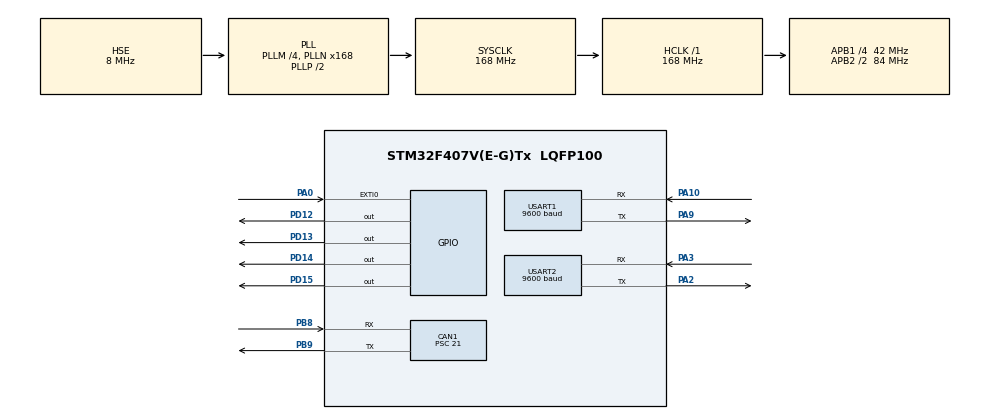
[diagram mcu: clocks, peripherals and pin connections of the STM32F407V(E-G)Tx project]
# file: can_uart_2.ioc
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CAN1.BS1=CAN_BS1_12TQ
CAN1.BS2=CAN_BS2_4TQ
CAN1.CalculateTimeQuantum=500.0
CAN1.Prescaler=21
Dma.Request0=USART1_RX
Dma.Request1=USART1_TX
Dma.Request2=USART2_TX
Dma.Request3=USART2_RX
Dma.USART1_RX.0.Direction=DMA_PERIPH_TO_MEMORY
Dma.USART1_RX.0.FIFOMode=DMA_FIFOMODE_DISABLE
Dma.USART1_RX.0.Instance=DMA2_Stream2
Dma.USART1_RX.0.MemDataAlignment=DMA_MDATAALIGN_BYTE
Dma.USART1_RX.0.MemInc=DMA_MINC_ENABLE
Dma.USART1_RX.0.Mode=DMA_CIRCULAR
Dma.USART1_RX.0.PeriphDataAlignment=DMA_PDATAALIGN_BYTE
Dma.USART1_RX.0.PeriphInc=DMA_PINC_DISABLE
Dma.USART1_RX.0.Priority=DMA_PRIORITY_LOW
Dma.USART1_TX.1.Direction=DMA_MEMORY_TO_PERIPH
Dma.USART1_TX.1.FIFOMode=DMA_FIFOMODE_DISABLE
Dma.USART1_TX.1.Instance=DMA2_Stream7
Dma.USART1_TX.1.MemDataAlignment=DMA_MDATAALIGN_BYTE
Dma.USART1_TX.1.MemInc=DMA_MINC_ENABLE
Dma.USART1_TX.1.Mode=DMA_CIRCULAR
Dma.USART1_TX.1.PeriphDataAlignment=DMA_PDATAALIGN_BYTE
Dma.USART1_TX.1.PeriphInc=DMA_PINC_DISABLE
Dma.USART1_TX.1.Priority=DMA_PRIORITY_LOW
Dma.USART2_RX.3.Direction=DMA_PERIPH_TO_MEMORY
Dma.USART2_RX.3.FIFOMode=DMA_FIFOMODE_DISABLE
Dma.USART2_RX.3.Instance=DMA1_Stream5
Dma.USART2_RX.3.MemDataAlignment=DMA_MDATAALIGN_BYTE
Dma.USART2_RX.3.MemInc=DMA_MINC_ENABLE
Dma.USART2_RX.3.Mode=DMA_NORMAL
Dma.USART2_RX.3.PeriphDataAlignment=DMA_PDATAALIGN_BYTE
Dma.USART2_RX.3.PeriphInc=DMA_PINC_DISABLE
Dma.USART2_RX.3.Priority=DMA_PRIORITY_LOW
Dma.USART2_TX.2.Direction=DMA_MEMORY_TO_PERIPH
Dma.USART2_TX.2.FIFOMode=DMA_FIFOMODE_DISABLE
Dma.USART2_TX.2.Instance=DMA1_Stream6
Dma.USART2_TX.2.MemDataAlignment=DMA_MDATAALIGN_BYTE
Dma.USART2_TX.2.MemInc=DMA_MINC_ENABLE
Dma.USART2_TX.2.Mode=DMA_CIRCULAR
Dma.USART2_TX.2.PeriphDataAlignment=DMA_PDATAALIGN_BYTE
Dma.USART2_TX.2.PeriphInc=DMA_PINC_DISABLE
Dma.USART2_TX.2.Priority=DMA_PRIORITY_LOW
Mcu.Family=STM32F4
Mcu.Name=STM32F407V(E-G)Tx
Mcu.Package=LQFP100
NVIC.CAN1_RX0_IRQn=true\:0\:0\:false\:false\:true\:true\:true
NVIC.DMA1_Stream5_IRQn=true\:0\:0\:false\:false\:true\:false\:true
NVIC.DMA1_Stream6_IRQn=true\:0\:0\:false\:false\:true\:false\:true
NVIC.DMA2_Stream2_IRQn=true\:0\:0\:false\:false\:true\:false\:true
NVIC.DMA2_Stream7_IRQn=true\:0\:0\:false\:false\:true\:false\:true
NVIC.EXTI0_IRQn=true\:0\:0\:false\:false\:true\:true\:true
NVIC.PriorityGroup=NVIC_PRIORITYGROUP_4
PA0-WKUP.Signal=GPXTI0
PA10.Mode=Asynchronous
PA10.Signal=USART1_RX
PA2.Mode=Asynchronous
PA2.Signal=USART2_TX
PA3.Mode=Asynchronous
PA3.Signal=USART2_RX
PA9.Mode=Asynchronous
PA9.Signal=USART1_TX
PB8.Mode=Master
PB8.Signal=CAN1_RX
PB9.Mode=Master
PB9.Signal=CAN1_TX
PD12.Signal=GPIO_Output
PD13.Signal=GPIO_Output
PD14.Signal=GPIO_Output
PD15.Signal=GPIO_Output
PH0-OSC_IN.Mode=HSE-External-Oscillator
PH0-OSC_IN.Signal=RCC_OSC_IN
PH1-OSC_OUT.Mode=HSE-External-Oscillator
PH1-OSC_OUT.Signal=RCC_OSC_OUT
ProjectManager.HeapSize=0x200
ProjectManager.StackSize=0x400
ProjectManager.TargetToolchain=MDK-ARM V5
RCC.48MHZClocksFreq_Value=84000000
RCC.AHBFreq_Value=168000000
RCC.APB1CLKDivider=RCC_HCLK_DIV4
RCC.APB1Freq_Value=42000000
RCC.APB1TimFreq_Value=84000000
RCC.APB2CLKDivider=RCC_HCLK_DIV2
RCC.APB2Freq_Value=84000000
RCC.APB2TimFreq_Value=168000000
RCC.CortexFreq_Value=168000000
RCC.HCLKFreq_Value=168000000
RCC.HSE_VALUE=8000000
RCC.HSI_VALUE=16000000
RCC.LSE_VALUE=32768
RCC.PLLM=4
RCC.PLLN=168
RCC.PLLSourceVirtual=RCC_PLLSOURCE_HSE
RCC.SYSCLKFreq_VALUE=168000000
RCC.SYSCLKSource=RCC_SYSCLKSOURCE_PLLCLK
RCC.VCOOutputFreq_Value=336000000
USART1.BaudRate=9600
USART1.VirtualMode=VM_ASYNC
USART2.BaudRate=9600
USART2.VirtualMode=VM_ASYNC
board=custom

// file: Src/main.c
/* USER CODE BEGIN Header */
/**
  ******************************************************************************
  * @file           : main.c
  * @brief          : Main program body
  ******************************************************************************
  * @attention
  *
  * <h2><center>&copy; Copyright (c) 2019 STMicroelectronics.
  * All rights reserved.</center></h2>
  *
  * This software component is licensed by ST under BSD 3-Clause license,
  * the "License"; You may not use this file except in compliance with the
  * License. You may obtain a copy of the License at:
  *                        opensource.org/licenses/BSD-3-Clause
  *
  ******************************************************************************
  */
/* USER CODE END Header */

#include "main.h"

/* USER CODE BEGIN Includes */
#include <stdio.h>  //printf
#include <string.h>
/* USER CODE END Includes */

CAN_HandleTypeDef hcan1;

UART_HandleTypeDef huart1;
UART_HandleTypeDef huart2;
DMA_HandleTypeDef hdma_usart1_rx;
DMA_HandleTypeDef hdma_usart1_tx;
DMA_HandleTypeDef hdma_usart2_tx;
DMA_HandleTypeDef hdma_usart2_rx;

/* USER CODE BEGIN PV */
CAN_TxHeaderTypeDef pHeader; //declare a specific header for message transmittions
CAN_RxHeaderTypeDef pRxHeader; //declare header for message reception
uint32_t TxMailbox;
uint8_t a,r; //declare byte to be transmitted //declare a receive byte
CAN_FilterTypeDef sFilterConfig; //declare CAN filter structure
/* USER CODE END PV */

void SystemClock_Config(void);
static void MX_GPIO_Init(void);
static void MX_DMA_Init(void);
static void MX_USART1_UART_Init(void);
static void MX_USART2_UART_Init(void);
static void MX_CAN1_Init(void);

/* USER CODE BEGIN 0 */
char rxBuf[25];
uint8_t txBuf[2] = {0x41,0x00};

/* USER CODE END 0 */

int main(void)
{

  /* MCU Configuration--------------------------------------------------------*/

  /* Reset of all peripherals, Initializes the Flash interface and the Systick. */
  HAL_Init();

  /* Configure the system clock */
  SystemClock_Config();

  /* Initialize all configured peripherals */
  MX_GPIO_Init();
  MX_DMA_Init();
  MX_USART1_UART_Init();
  MX_USART2_UART_Init();
  MX_CAN1_Init();
  /* USER CODE BEGIN 2 */

	//** Fixed size command of 3 bytes *[]#, Initialise
	HAL_UART_Receive_DMA(&huart1, (uint8_t *)rxBuf, 3);
	HAL_UART_Receive_DMA(&huart2, (uint8_t *)rxBuf, 3); //

	// CAN
	pHeader.DLC=1; //give message size of 1 byte
	pHeader.IDE=CAN_ID_STD; //set identifier to standard
	pHeader.RTR=CAN_RTR_DATA; //set data type to remote transmission request?
	pHeader.StdId=0x244; //define a standard identifier, used for message identification by filters (switch this for the other microcontroller)

	//filter one (stack light blink)
	sFilterConfig.FilterFIFOAssignment=CAN_FILTER_FIFO0; //set fifo assignment
	sFilterConfig.FilterIdHigh=0x245<<5; //the ID that the filter looks for (switch this for the other microcontroller)
	sFilterConfig.FilterIdLow=0;
	sFilterConfig.FilterMaskIdHigh=0;
	sFilterConfig.FilterMaskIdLow=0;
	sFilterConfig.FilterScale=CAN_FILTERSCALE_32BIT; //set filter scale
	sFilterConfig.FilterActivation=ENABLE;

	HAL_CAN_ConfigFilter(&hcan1, &sFilterConfig); //configure CAN filter

	HAL_CAN_Start(&hcan1); //start CAN
	HAL_CAN_ActivateNotification(&hcan1, CAN_IT_RX_FIFO0_MSG_PENDING); //enable interrupts

  /* USER CODE END 2 */

  /* Infinite loop */
  /* USER CODE BEGIN WHILE */
  while (1)
  {
		//HAL_UART_Transmit_DMA(&huart2,txBuf,2);
//		HAL_GPIO_TogglePin(GPIOD, GPIO_PIN_13);
//		HAL_Delay(1000);
    /* USER CODE END WHILE */

  }
}

void SystemClock_Config(void)
{
  RCC_OscInitTypeDef RCC_OscInitStruct = {0};
  RCC_ClkInitTypeDef RCC_ClkInitStruct = {0};

  /** Configure the main internal regulator output voltage
  */
  __HAL_RCC_PWR_CLK_ENABLE();
  __HAL_PWR_VOLTAGESCALING_CONFIG(PWR_REGULATOR_VOLTAGE_SCALE1);
  /** Initializes the CPU, AHB and APB busses clocks
  */
  RCC_OscInitStruct.OscillatorType = RCC_OSCILLATORTYPE_HSE;
  RCC_OscInitStruct.HSEState = RCC_HSE_ON;
  RCC_OscInitStruct.PLL.PLLState = RCC_PLL_ON;
  RCC_OscInitStruct.PLL.PLLSource = RCC_PLLSOURCE_HSE;
  RCC_OscInitStruct.PLL.PLLM = 4;
  RCC_OscInitStruct.PLL.PLLN = 168;
  RCC_OscInitStruct.PLL.PLLP = RCC_PLLP_DIV2;
  RCC_OscInitStruct.PLL.PLLQ = 4;
  if (HAL_RCC_OscConfig(&RCC_OscInitStruct) != HAL_OK)
  {
    Error_Handler();
  }
  /** Initializes the CPU, AHB and APB busses clocks
  */
  RCC_ClkInitStruct.ClockType = RCC_CLOCKTYPE_HCLK|RCC_CLOCKTYPE_SYSCLK
                              |RCC_CLOCKTYPE_PCLK1|RCC_CLOCKTYPE_PCLK2;
  RCC_ClkInitStruct.SYSCLKSource = RCC_SYSCLKSOURCE_PLLCLK;
  RCC_ClkInitStruct.AHBCLKDivider = RCC_SYSCLK_DIV1;
  RCC_ClkInitStruct.APB1CLKDivider = RCC_HCLK_DIV4;
  RCC_ClkInitStruct.APB2CLKDivider = RCC_HCLK_DIV2;

  if (HAL_RCC_ClockConfig(&RCC_ClkInitStruct, FLASH_LATENCY_5) != HAL_OK)
  {
    Error_Handler();
  }
}

static void MX_CAN1_Init(void)
{

  hcan1.Instance = CAN1;
  hcan1.Init.Prescaler = 21;
  hcan1.Init.Mode = CAN_MODE_NORMAL;
  hcan1.Init.SyncJumpWidth = CAN_SJW_1TQ;
  hcan1.Init.TimeSeg1 = CAN_BS1_12TQ;
  hcan1.Init.TimeSeg2 = CAN_BS2_4TQ;
  hcan1.Init.TimeTriggeredMode = DISABLE;
  hcan1.Init.AutoBusOff = DISABLE;
  hcan1.Init.AutoWakeUp = DISABLE;
  hcan1.Init.AutoRetransmission = DISABLE;
  hcan1.Init.ReceiveFifoLocked = DISABLE;
  hcan1.Init.TransmitFifoPriority = DISABLE;
  if (HAL_CAN_Init(&hcan1) != HAL_OK)
  {
    Error_Handler();
  }

}

static void MX_USART1_UART_Init(void)
{

  huart1.Instance = USART1;
  huart1.Init.BaudRate = 9600;
  huart1.Init.WordLength = UART_WORDLENGTH_8B;
  huart1.Init.StopBits = UART_STOPBITS_1;
  huart1.Init.Parity = UART_PARITY_NONE;
  huart1.Init.Mode = UART_MODE_TX_RX;
  huart1.Init.HwFlowCtl = UART_HWCONTROL_NONE;
  huart1.Init.OverSampling = UART_OVERSAMPLING_16;
  if (HAL_UART_Init(&huart1) != HAL_OK)
  {
    Error_Handler();
  }

}

static void MX_USART2_UART_Init(void)
{

  huart2.Instance = USART2;
  huart2.Init.BaudRate = 9600;
  huart2.Init.WordLength = UART_WORDLENGTH_8B;
  huart2.Init.StopBits = UART_STOPBITS_1;
  huart2.Init.Parity = UART_PARITY_NONE;
  huart2.Init.Mode = UART_MODE_TX_RX;
  huart2.Init.HwFlowCtl = UART_HWCONTROL_NONE;
  huart2.Init.OverSampling = UART_OVERSAMPLING_16;
  if (HAL_UART_Init(&huart2) != HAL_OK)
  {
    Error_Handler();
  }

}

static void MX_DMA_Init(void)
{

  /* DMA controller clock enable */
  __HAL_RCC_DMA2_CLK_ENABLE();
  __HAL_RCC_DMA1_CLK_ENABLE();

  /* DMA interrupt init */
  /* DMA1_Stream5_IRQn interrupt configuration */
  HAL_NVIC_SetPriority(DMA1_Stream5_IRQn, 0, 0);
  HAL_NVIC_EnableIRQ(DMA1_Stream5_IRQn);
  /* DMA1_Stream6_IRQn interrupt configuration */
  HAL_NVIC_SetPriority(DMA1_Stream6_IRQn, 0, 0);
  HAL_NVIC_EnableIRQ(DMA1_Stream6_IRQn);
  /* DMA2_Stream2_IRQn interrupt configuration */
  HAL_NVIC_SetPriority(DMA2_Stream2_IRQn, 0, 0);
  HAL_NVIC_EnableIRQ(DMA2_Stream2_IRQn);
  /* DMA2_Stream7_IRQn interrupt configuration */
  HAL_NVIC_SetPriority(DMA2_Stream7_IRQn, 0, 0);
  HAL_NVIC_EnableIRQ(DMA2_Stream7_IRQn);

}

static void MX_GPIO_Init(void)
{
  GPIO_InitTypeDef GPIO_InitStruct = {0};

  /* GPIO Ports Clock Enable */
  __HAL_RCC_GPIOH_CLK_ENABLE();
  __HAL_RCC_GPIOA_CLK_ENABLE();
  __HAL_RCC_GPIOD_CLK_ENABLE();
  __HAL_RCC_GPIOB_CLK_ENABLE();

  /*Configure GPIO pin Output Level */
  HAL_GPIO_WritePin(GPIOD, GPIO_PIN_12|GPIO_PIN_13|GPIO_PIN_14|GPIO_PIN_15, GPIO_PIN_RESET);

  /*Configure GPIO pin : PA0 */
  GPIO_InitStruct.Pin = GPIO_PIN_0;
  GPIO_InitStruct.Mode = GPIO_MODE_IT_RISING;
  GPIO_InitStruct.Pull = GPIO_NOPULL;
  HAL_GPIO_Init(GPIOA, &GPIO_InitStruct);

  /*Configure GPIO pins : PD12 PD13 PD14 PD15 */
  GPIO_InitStruct.Pin = GPIO_PIN_12|GPIO_PIN_13|GPIO_PIN_14|GPIO_PIN_15;
  GPIO_InitStruct.Mode = GPIO_MODE_OUTPUT_PP;
  GPIO_InitStruct.Pull = GPIO_NOPULL;
  GPIO_InitStruct.Speed = GPIO_SPEED_FREQ_LOW;
  HAL_GPIO_Init(GPIOD, &GPIO_InitStruct);

  /* EXTI interrupt init*/
  HAL_NVIC_SetPriority(EXTI0_IRQn, 0, 0);
  HAL_NVIC_EnableIRQ(EXTI0_IRQn);

}

/* USER CODE BEGIN 4 */
void HAL_UART_RxCpltCallback(UART_HandleTypeDef *huart)
{
  /* Prevent unused argument(s) compilation warning */
//  UNUSED(huart);
  /* NOTE: This function should not be modified, when the callback is needed,
           the HAL_UART_RxCpltCallback could be implemented in the user file
   */
	if(huart->Instance == USART2)
	{
		if(rxBuf[0] == '*' && rxBuf[2] == '#')
			{
				//Start UART DMA receive based on User specified length (Caviat: always ensure user requested)
				if(rxBuf[1] == 0x01)
				{
					HAL_GPIO_WritePin(GPIOD, GPIO_PIN_12, GPIO_PIN_SET);
					HAL_UART_Transmit_DMA(huart,txBuf,2);
				}
				else if(rxBuf[1] == 0x02)
				{
					HAL_GPIO_WritePin(GPIOD, GPIO_PIN_12, GPIO_PIN_RESET);
					HAL_UART_Transmit_DMA(huart,txBuf,2);
				}
			}
	HAL_UART_Receive_DMA(huart, (uint8_t *)rxBuf, 3);
	}

}

void HAL_UART_TxCpltCallback(UART_HandleTypeDef *huart)
{
	if(huart->Instance == USART2)
	{
		huart->TxXferCount = 0x00U;
	/* Disable the DMA transfer for transmit request by setting the DMAT bit
       in the UART CR3 register */
    CLEAR_BIT(huart->Instance->CR3, USART_CR3_DMAT);

    /* Enable the UART Transmit Complete Interrupt */
    SET_BIT(huart->Instance->CR1, USART_CR1_TCIE);

		huart->gState = HAL_UART_STATE_READY;
	}

}

/* USER CODE END 4 */

void Error_Handler(void)
{
}

/************************ (C) COPYRIGHT STMicroelectronics *****END OF FILE****/
